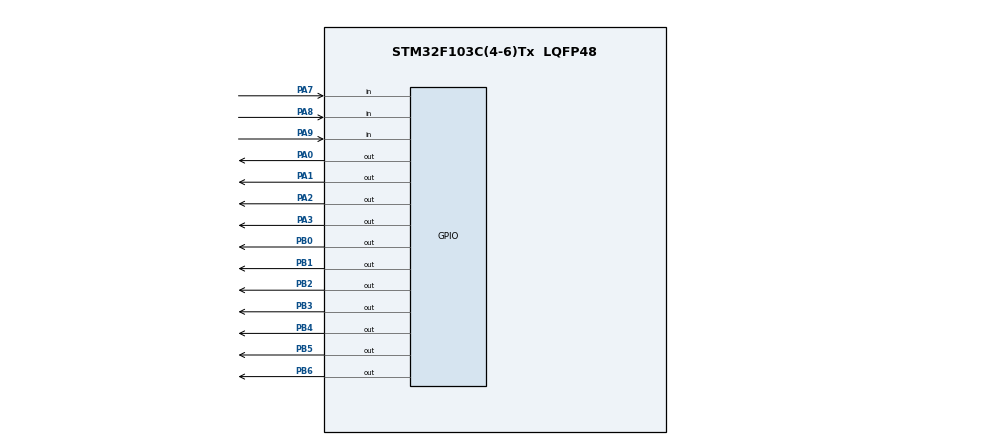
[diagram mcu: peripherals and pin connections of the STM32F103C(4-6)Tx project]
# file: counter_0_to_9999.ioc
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Mcu.Family=STM32F1
Mcu.Name=STM32F103C(4-6)Tx
Mcu.Package=LQFP48
NVIC.PriorityGroup=NVIC_PRIORITYGROUP_4
PA0-WKUP.PinState=GPIO_PIN_RESET
PA0-WKUP.Signal=GPIO_Output
PA1.PinState=GPIO_PIN_RESET
PA1.Signal=GPIO_Output
PA2.PinState=GPIO_PIN_RESET
PA2.Signal=GPIO_Output
PA3.PinState=GPIO_PIN_RESET
PA3.Signal=GPIO_Output
PA7.GPIO_PuPd=GPIO_PULLUP
PA7.Signal=GPIO_Input
PA8.GPIO_PuPd=GPIO_PULLUP
PA8.Signal=GPIO_Input
PA9.GPIO_PuPd=GPIO_PULLUP
PA9.Signal=GPIO_Input
PB0.PinState=GPIO_PIN_SET
PB0.Signal=GPIO_Output
PB1.PinState=GPIO_PIN_SET
PB1.Signal=GPIO_Output
PB2.PinState=GPIO_PIN_SET
PB2.Signal=GPIO_Output
PB3.PinState=GPIO_PIN_SET
PB3.Signal=GPIO_Output
PB4.PinState=GPIO_PIN_SET
PB4.Signal=GPIO_Output
PB5.PinState=GPIO_PIN_SET
PB5.Signal=GPIO_Output
PB6.PinState=GPIO_PIN_SET
PB6.Signal=GPIO_Output
ProjectManager.HeapSize=0x200
ProjectManager.StackSize=0x400
ProjectManager.TargetToolchain=STM32CubeIDE
RCC.APB1Freq_Value=8000000
RCC.APB2Freq_Value=8000000
board=custom

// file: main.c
/* USER CODE BEGIN Header */
/**
  ******************************************************************************
  * @file           : main.c
  * @brief          : Main program body
  ******************************************************************************
  * @attention
  *
  * Copyright (c) 2023 STMicroelectronics.
  * All rights reserved.
  *
  * This software is licensed under terms that can be found in the LICENSE file
  * in the root directory of this software component.
  * If no LICENSE file comes with this software, it is provided AS-IS.
  *
  ******************************************************************************
  */
/* USER CODE END Header */
#include "main.h"

void SystemClock_Config(void);
static void MX_GPIO_Init(void);

int main(void)
{
  /* USER CODE BEGIN 1 */
	int a=0,b=0,c=0,d=0;
	int value[10]={0x3F, 0x06, 0x5B, 0x4F, 0x66, 0x6D, 0x7D, 0x07, 0x7F, 0x6F};
  /* USER CODE END 1 */

  /* MCU Configuration--------------------------------------------------------*/

  /* Reset of all peripherals, Initializes the Flash interface and the Systick. */
  HAL_Init();

  /* Configure the system clock */
  SystemClock_Config();

  /* Initialize all configured peripherals */
  MX_GPIO_Init();

  /* Infinite loop */
  while (1)
  {

    /* USER CODE BEGIN 3 */
	   if(HAL_GPIO_ReadPin(GPIOA, GPIO_PIN_7)==0){
	  		a++;
	  	}
	  	if(HAL_GPIO_ReadPin(GPIOA, GPIO_PIN_8)==0){
	  			a--;
	  		}
	  	if(HAL_GPIO_ReadPin(GPIOA, GPIO_PIN_9)==0){
	  			a=0;
	  			b=0;
	  			c=0;
	  			d=0;
	  		}
	  	if(a>9){
	  		a=0;
	  		b++;
	  	}
	  	else if(a<0){
	  		a=9;
	  		b--;
	  	}
	  	if(b>9){
	  		b=0;
	  		c++;
	  	}
	  	else if(b<0){
	  		b=9;
	  		c--;
	  	}
	  	if(c>9){
	  		c=0;
	  		d++;
	  	}
	  	else if(c<0){
	  		c=0;
	  		d--;
	  	}
	  	if(d>9){
	  		d=0;
	  		a=0;
	  		b=0;
	  		c=0;

	  	}
	  	else if(d<0){
	  		d=9;
	  		a=9;
	  		b=9;
	  		c=9;
	  	}

        //common anode
	  	HAL_GPIO_WritePin(GPIOA, GPIO_PIN_0, GPIO_PIN_SET);
		HAL_GPIO_WritePin(GPIOA, GPIO_PIN_1, GPIO_PIN_RESET);
		HAL_GPIO_WritePin(GPIOA, GPIO_PIN_2, GPIO_PIN_RESET);
		HAL_GPIO_WritePin(GPIOA, GPIO_PIN_3, GPIO_PIN_RESET);

	  	HAL_GPIO_WritePin(GPIOB, 0XFF, GPIO_PIN_SET);
		HAL_GPIO_WritePin(GPIOB, value[a], GPIO_PIN_RESET);
		HAL_Delay(20);

		HAL_GPIO_WritePin(GPIOA, GPIO_PIN_0, GPIO_PIN_RESET);
		HAL_GPIO_WritePin(GPIOA, GPIO_PIN_1, GPIO_PIN_SET);
		HAL_GPIO_WritePin(GPIOA, GPIO_PIN_2, GPIO_PIN_RESET);
		HAL_GPIO_WritePin(GPIOA, GPIO_PIN_3, GPIO_PIN_RESET);

		HAL_GPIO_WritePin(GPIOB, 0XFF, GPIO_PIN_SET);
		HAL_GPIO_WritePin(GPIOB, value[b], GPIO_PIN_RESET);
		HAL_Delay(20);

		HAL_GPIO_WritePin(GPIOA, GPIO_PIN_0, GPIO_PIN_RESET);
		HAL_GPIO_WritePin(GPIOA, GPIO_PIN_1, GPIO_PIN_RESET);
		HAL_GPIO_WritePin(GPIOA, GPIO_PIN_2, GPIO_PIN_SET);
		HAL_GPIO_WritePin(GPIOA, GPIO_PIN_3, GPIO_PIN_RESET);

		HAL_GPIO_WritePin(GPIOB, 0XFF, GPIO_PIN_SET);
		HAL_GPIO_WritePin(GPIOB, value[c], GPIO_PIN_RESET);
		HAL_Delay(20);

		HAL_GPIO_WritePin(GPIOA, GPIO_PIN_0, GPIO_PIN_RESET);
		HAL_GPIO_WritePin(GPIOA, GPIO_PIN_1, GPIO_PIN_RESET);
		HAL_GPIO_WritePin(GPIOA, GPIO_PIN_2, GPIO_PIN_RESET);
		HAL_GPIO_WritePin(GPIOA, GPIO_PIN_3, GPIO_PIN_SET);

		HAL_GPIO_WritePin(GPIOB, 0XFF, GPIO_PIN_SET);
		HAL_GPIO_WritePin(GPIOB, value[d], GPIO_PIN_RESET);
		HAL_Delay(20);

  }
  /* USER CODE END 3 */
}

void SystemClock_Config(void)
{
  RCC_OscInitTypeDef RCC_OscInitStruct = {0};
  RCC_ClkInitTypeDef RCC_ClkInitStruct = {0};

  /** Initializes the RCC Oscillators according to the specified parameters
  * in the RCC_OscInitTypeDef structure.
  */
  RCC_OscInitStruct.OscillatorType = RCC_OSCILLATORTYPE_HSI;
  RCC_OscInitStruct.HSIState = RCC_HSI_ON;
  RCC_OscInitStruct.HSICalibrationValue = RCC_HSICALIBRATION_DEFAULT;
  RCC_OscInitStruct.PLL.PLLState = RCC_PLL_NONE;
  if (HAL_RCC_OscConfig(&RCC_OscInitStruct) != HAL_OK)
  {
    Error_Handler();
  }

  /** Initializes the CPU, AHB and APB buses clocks
  */
  RCC_ClkInitStruct.ClockType = RCC_CLOCKTYPE_HCLK|RCC_CLOCKTYPE_SYSCLK
                              |RCC_CLOCKTYPE_PCLK1|RCC_CLOCKTYPE_PCLK2;
  RCC_ClkInitStruct.SYSCLKSource = RCC_SYSCLKSOURCE_HSI;
  RCC_ClkInitStruct.AHBCLKDivider = RCC_SYSCLK_DIV1;
  RCC_ClkInitStruct.APB1CLKDivider = RCC_HCLK_DIV1;
  RCC_ClkInitStruct.APB2CLKDivider = RCC_HCLK_DIV1;

  if (HAL_RCC_ClockConfig(&RCC_ClkInitStruct, FLASH_LATENCY_0) != HAL_OK)
  {
    Error_Handler();
  }
}

static void MX_GPIO_Init(void)
{
  GPIO_InitTypeDef GPIO_InitStruct = {0};

  /* GPIO Ports Clock Enable */
  __HAL_RCC_GPIOA_CLK_ENABLE();
  __HAL_RCC_GPIOB_CLK_ENABLE();

  /*Configure GPIO pin Output Level */
  HAL_GPIO_WritePin(GPIOA, GPIO_PIN_0|GPIO_PIN_1|GPIO_PIN_2|GPIO_PIN_3, GPIO_PIN_RESET);

  /*Configure GPIO pin Output Level */
  HAL_GPIO_WritePin(GPIOB, GPIO_PIN_0|GPIO_PIN_1|GPIO_PIN_2|GPIO_PIN_3
                          |GPIO_PIN_4|GPIO_PIN_5|GPIO_PIN_6, GPIO_PIN_SET);

  /*Configure GPIO pins : PA0 PA1 PA2 PA3 */
  GPIO_InitStruct.Pin = GPIO_PIN_0|GPIO_PIN_1|GPIO_PIN_2|GPIO_PIN_3;
  GPIO_InitStruct.Mode = GPIO_MODE_OUTPUT_PP;
  GPIO_InitStruct.Pull = GPIO_NOPULL;
  GPIO_InitStruct.Speed = GPIO_SPEED_FREQ_LOW;
  HAL_GPIO_Init(GPIOA, &GPIO_InitStruct);

  /*Configure GPIO pins : PA7 PA8 PA9 */
  GPIO_InitStruct.Pin = GPIO_PIN_7|GPIO_PIN_8|GPIO_PIN_9;
  GPIO_InitStruct.Mode = GPIO_MODE_INPUT;
  GPIO_InitStruct.Pull = GPIO_PULLUP;
  HAL_GPIO_Init(GPIOA, &GPIO_InitStruct);

  /*Configure GPIO pins : PB0 PB1 PB2 PB3
                           PB4 PB5 PB6 */
  GPIO_InitStruct.Pin = GPIO_PIN_0|GPIO_PIN_1|GPIO_PIN_2|GPIO_PIN_3
                          |GPIO_PIN_4|GPIO_PIN_5|GPIO_PIN_6;
  GPIO_InitStruct.Mode = GPIO_MODE_OUTPUT_PP;
  GPIO_InitStruct.Pull = GPIO_NOPULL;
  GPIO_InitStruct.Speed = GPIO_SPEED_FREQ_LOW;
  HAL_GPIO_Init(GPIOB, &GPIO_InitStruct);

}

void Error_Handler(void)
{
  __disable_irq();
  while (1)
  {
  }
}
